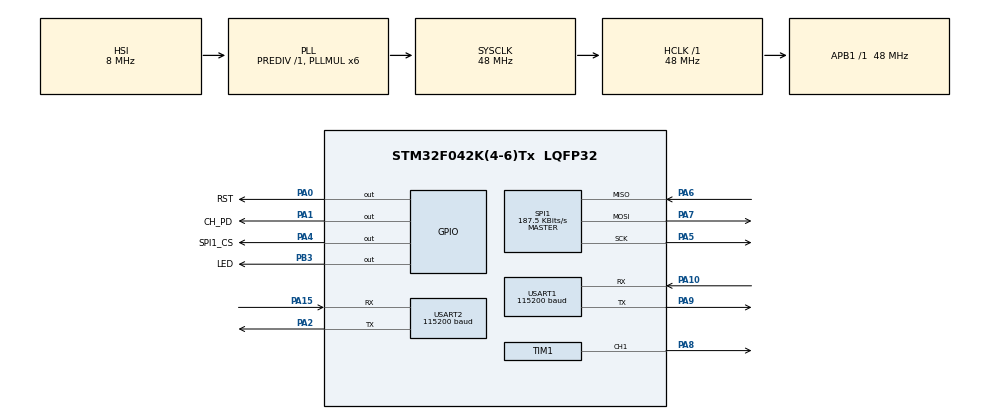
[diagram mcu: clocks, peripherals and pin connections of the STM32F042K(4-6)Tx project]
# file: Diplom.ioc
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Dma.Request0=TIM1_CH1
Dma.TIM1_CH1.0.Direction=DMA_MEMORY_TO_PERIPH
Dma.TIM1_CH1.0.Instance=DMA1_Channel2
Dma.TIM1_CH1.0.MemDataAlignment=DMA_MDATAALIGN_HALFWORD
Dma.TIM1_CH1.0.MemInc=DMA_MINC_ENABLE
Dma.TIM1_CH1.0.Mode=DMA_NORMAL
Dma.TIM1_CH1.0.PeriphDataAlignment=DMA_PDATAALIGN_HALFWORD
Dma.TIM1_CH1.0.PeriphInc=DMA_PINC_DISABLE
Dma.TIM1_CH1.0.Priority=DMA_PRIORITY_HIGH
Mcu.Family=STM32F0
Mcu.Name=STM32F042K(4-6)Tx
Mcu.Package=LQFP32
NVIC.DMA1_Channel2_3_IRQn=true\:0\:0\:false\:false\:true\:false\:true
NVIC.USART1_IRQn=true\:0\:0\:false\:false\:true\:true\:true
NVIC.USART2_IRQn=true\:0\:0\:false\:false\:true\:true\:true
PA0.GPIO_Label=RST
PA0.GPIO_PuPd=GPIO_NOPULL
PA0.Signal=GPIO_Output
PA1.GPIO_Label=CH_PD
PA1.Signal=GPIO_Output
PA10.Mode=Asynchronous
PA10.Signal=USART1_RX
PA13.Mode=Serial_Wire
PA13.Signal=SYS_SWDIO
PA14.Mode=Serial_Wire
PA14.Signal=SYS_SWCLK
PA15.Mode=Asynchronous
PA15.Signal=USART2_RX
PA2.Mode=Asynchronous
PA2.Signal=USART2_TX
PA4.GPIO_Label=SPI1_CS
PA4.GPIO_Speed=GPIO_SPEED_FREQ_HIGH
PA4.Signal=GPIO_Output
PA5.Mode=Full_Duplex_Master
PA5.Signal=SPI1_SCK
PA6.Mode=Full_Duplex_Master
PA6.Signal=SPI1_MISO
PA7.Mode=Full_Duplex_Master
PA7.Signal=SPI1_MOSI
PA8.Signal=S_TIM1_CH1
PA9.Mode=Asynchronous
PA9.Signal=USART1_TX
PB3.GPIO_Label=LED
PB3.Signal=GPIO_Output
ProjectManager.HeapSize=0x200
ProjectManager.StackSize=0x400
ProjectManager.TargetToolchain=STM32CubeIDE
RCC.AHBFreq_Value=48000000
RCC.APB1Freq_Value=48000000
RCC.APB1TimFreq_Value=48000000
RCC.HCLKFreq_Value=48000000
RCC.PLLMUL=RCC_PLL_MUL6
RCC.SYSCLKFreq_VALUE=48000000
RCC.SYSCLKSource=RCC_SYSCLKSOURCE_PLLCLK
SH.S_TIM1_CH1.0=TIM1_CH1,PWM Generation1 CH1
SPI1.BaudRatePrescaler=SPI_BAUDRATEPRESCALER_256
SPI1.CalculateBaudRate=187.5 KBits/s
SPI1.DataSize=SPI_DATASIZE_8BIT
SPI1.Direction=SPI_DIRECTION_2LINES
SPI1.Mode=SPI_MODE_MASTER
SPI1.VirtualType=VM_MASTER
TIM1.Channel-PWM\ Generation1\ CH1=TIM_CHANNEL_1
TIM1.Period=60-1
USART1.BaudRate=115200
USART1.VirtualMode-Asynchronous=VM_ASYNC
USART2.BaudRate=115200
USART2.VirtualMode-Asynchronous=VM_ASYNC
VP_TIM1_VS_ClockSourceINT.Mode=Internal
board=custom

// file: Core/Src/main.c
/* USER CODE BEGIN Header */
/**
  ******************************************************************************
  * @file           : main.c
  * @brief          : Main program body
  ******************************************************************************
  * @attention
  *
  * <h2><center>&copy; Copyright (c) 2022 STMicroelectronics.
  * All rights reserved.</center></h2>
  *
  * This software component is licensed by ST under BSD 3-Clause license,
  * the "License"; You may not use this file except in compliance with the
  * License. You may obtain a copy of the License at:
  *                        opensource.org/licenses/BSD-3-Clause
  *
  ******************************************************************************
  */
/* USER CODE END Header */
#include "main.h"
#include "dma.h"
#include "spi.h"
#include "tim.h"
#include "usart.h"
#include "gpio.h"

/* USER CODE BEGIN PV */
char str1[250]={0};
typedef struct USART_prop{
  uint8_t usart_buf[250];
  uint8_t usart_cnt;
} USART_prop_ptr;
USART_prop_ptr usartprop = {{0}, 0};

bool ledStripFlag = false;
bool ledStripFlag2 = false;
/* USER CODE END PV */

void SystemClock_Config(void);

/* USER CODE BEGIN 0 */
void string_parse(char* buf_str)
{
//    DEBUG_PRINT(DEBUG_PRINT_INFO, "[ESP] %s\r\n", buf_str);
    if (!strcmp(buf_str, "0,CONNECT\r\n"))
    {
        ledStripFlag = true;
    }
    if (ledStripFlag && !strcmp(buf_str, "\r\n"))
    {
        ledStripFlag2 = true;
    }
}

void UART1_RxCpltCallBack(void)
{
        uint8_t b;
        b = str1[0];
        //если вдруг случайно превысим длину буфера
        if (usartprop.usart_cnt>249)
        {
          usartprop.usart_cnt=0;
          HAL_UART_Receive_IT(&huart1,(uint8_t*)str1,1);
          return;
        }
        usartprop.usart_buf[usartprop.usart_cnt] = b;
        if(b==0x0A)
        {
          usartprop.usart_buf[usartprop.usart_cnt+1]=0;
          string_parse((char*)usartprop.usart_buf);
          usartprop.usart_cnt=0;
          HAL_UART_Receive_IT(&huart1,(uint8_t*)str1,1);
          return;
        }
        usartprop.usart_cnt++;
        HAL_UART_Receive_IT(&huart1,(uint8_t*)str1,1);
}
/* USER CODE END 0 */

int main(void)
{

  /* MCU Configuration--------------------------------------------------------*/

  /* Reset of all peripherals, Initializes the Flash interface and the Systick. */
  HAL_Init();

  /* Configure the system clock */
  SystemClock_Config();

  /* Initialize all configured peripherals */
  MX_GPIO_Init();
  MX_SPI1_Init();
  MX_USART2_UART_Init();
  MX_DMA_Init();
  MX_USART1_UART_Init();
  MX_TIM1_Init();
  /* USER CODE BEGIN 2 */
    rfidStatus_t status = MI_ERR;
    RetargetInit(&huart2);
    MFRC522_Init();
    DEBUG_PRINT(DEBUG_PRINT_INFO, "[DEBUG] LedStripStorage started!\r\n");
    HAL_UART_Receive_IT(&huart1,(uint8_t*)str1,1);
    HAL_Delay(1000);

    HAL_GPIO_WritePin(RST_GPIO_Port, RST_Pin, GPIO_PIN_RESET);
    HAL_GPIO_WritePin(RST_GPIO_Port, RST_Pin, GPIO_PIN_SET);
    HAL_Delay(1000);
    HAL_GPIO_WritePin(CH_PD_GPIO_Port, CH_PD_Pin, GPIO_PIN_SET);
    HAL_Delay(1000);
    HAL_UART_Transmit(&huart1, (uint8_t*)"AT+CIPMUX=1\r\n", strlen("AT+CIPMUX=1\r\n"), -1);
    HAL_Delay(1000);
    HAL_UART_Transmit(&huart1, (uint8_t*)"AT+CIPSERVER=1\r\n", strlen("AT+CIPSERVER=1\r\n"), -1);
    HAL_Delay(1000);
  /* USER CODE END 2 */

  /* Infinite loop */
  /* USER CODE BEGIN WHILE */
    uint8_t *pRxData;
    pRxData = (uint8_t *) malloc(sizeof(*pRxData)*48);
    LedController_Load();
    LedController_OffAllLeds();
    while (1)
    {
        if (ledStripFlag2)
        {
            DEBUG_PRINT(DEBUG_PRINT_INFO, "[ESP] %s\r\n", usartprop.usart_buf);
            char a_x_coord[2] = {(char)usartprop.usart_buf[9], '\0'};
            if (!strcmp(a_x_coord, "r"))
            {

                while(status != MI_OK)
                {
                    status = RFID_ReadFullMem();
                }
                DEBUG_PRINT(DEBUG_PRINT_INFO, "[DEBUG] Status %d\r\n", status);
                HAL_UART_Transmit(&huart1, (uint8_t*)"AT+CIPSEND=0,1\r\n", strlen("AT+CIPSEND=0,1\r\n"), -1);
                HAL_Delay(1000);
                HAL_UART_Transmit(&huart1, (uint8_t*)"1\r\n", strlen("1\r\n"), -1);
                HAL_Delay(1000);
                ledStripFlag = false;
                ledStripFlag2 = false;
            }
            else
            {
                DEBUG_PRINT(DEBUG_PRINT_INFO, "[ESP] a_x_coord -> %s\r\n", a_x_coord);
                char a_y_coord[2] = {(char)usartprop.usart_buf[10], '\0'};
                DEBUG_PRINT(DEBUG_PRINT_INFO, "[ESP] a_y_coord -> %s\r\n", a_y_coord);
                int x_coord = atoi(a_x_coord);
                int y_coord = atoi(a_y_coord);
                DEBUG_PRINT(DEBUG_PRINT_INFO, "[ESP] x_coord -> %d\r\n", x_coord);
                DEBUG_PRINT(DEBUG_PRINT_INFO, "[ESP] y_coord -> %d\r\n", y_coord);
                LedController_OnXY(x_coord, y_coord);
                ledStripFlag = false;
                ledStripFlag2 = false;
            }

        }

    /* USER CODE END WHILE */

    }
}

void SystemClock_Config(void)
{
  RCC_OscInitTypeDef RCC_OscInitStruct = {0};
  RCC_ClkInitTypeDef RCC_ClkInitStruct = {0};
  RCC_PeriphCLKInitTypeDef PeriphClkInit = {0};

  /** Initializes the RCC Oscillators according to the specified parameters
  * in the RCC_OscInitTypeDef structure.
  */
  RCC_OscInitStruct.OscillatorType = RCC_OSCILLATORTYPE_HSI;
  RCC_OscInitStruct.HSIState = RCC_HSI_ON;
  RCC_OscInitStruct.HSICalibrationValue = RCC_HSICALIBRATION_DEFAULT;
  RCC_OscInitStruct.PLL.PLLState = RCC_PLL_ON;
  RCC_OscInitStruct.PLL.PLLSource = RCC_PLLSOURCE_HSI;
  RCC_OscInitStruct.PLL.PLLMUL = RCC_PLL_MUL6;
  RCC_OscInitStruct.PLL.PREDIV = RCC_PREDIV_DIV1;
  if (HAL_RCC_OscConfig(&RCC_OscInitStruct) != HAL_OK)
  {
    Error_Handler();
  }
  /** Initializes the CPU, AHB and APB buses clocks
  */
  RCC_ClkInitStruct.ClockType = RCC_CLOCKTYPE_HCLK|RCC_CLOCKTYPE_SYSCLK
                              |RCC_CLOCKTYPE_PCLK1;
  RCC_ClkInitStruct.SYSCLKSource = RCC_SYSCLKSOURCE_PLLCLK;
  RCC_ClkInitStruct.AHBCLKDivider = RCC_SYSCLK_DIV1;
  RCC_ClkInitStruct.APB1CLKDivider = RCC_HCLK_DIV1;

  if (HAL_RCC_ClockConfig(&RCC_ClkInitStruct, FLASH_LATENCY_1) != HAL_OK)
  {
    Error_Handler();
  }
  PeriphClkInit.PeriphClockSelection = RCC_PERIPHCLK_USART1;
  PeriphClkInit.Usart1ClockSelection = RCC_USART1CLKSOURCE_PCLK1;
  if (HAL_RCCEx_PeriphCLKConfig(&PeriphClkInit) != HAL_OK)
  {
    Error_Handler();
  }
}

/* USER CODE BEGIN 4 */
void HAL_UART_RxCpltCallback(UART_HandleTypeDef *huart)
{
    if(huart==&huart1)
    {
        UART1_RxCpltCallBack();
    }
}
/* USER CODE END 4 */

void Error_Handler(void)
{
  __disable_irq();
  while (1)
  {
  }
}

/************************ (C) COPYRIGHT STMicroelectronics *****END OF FILE****/
